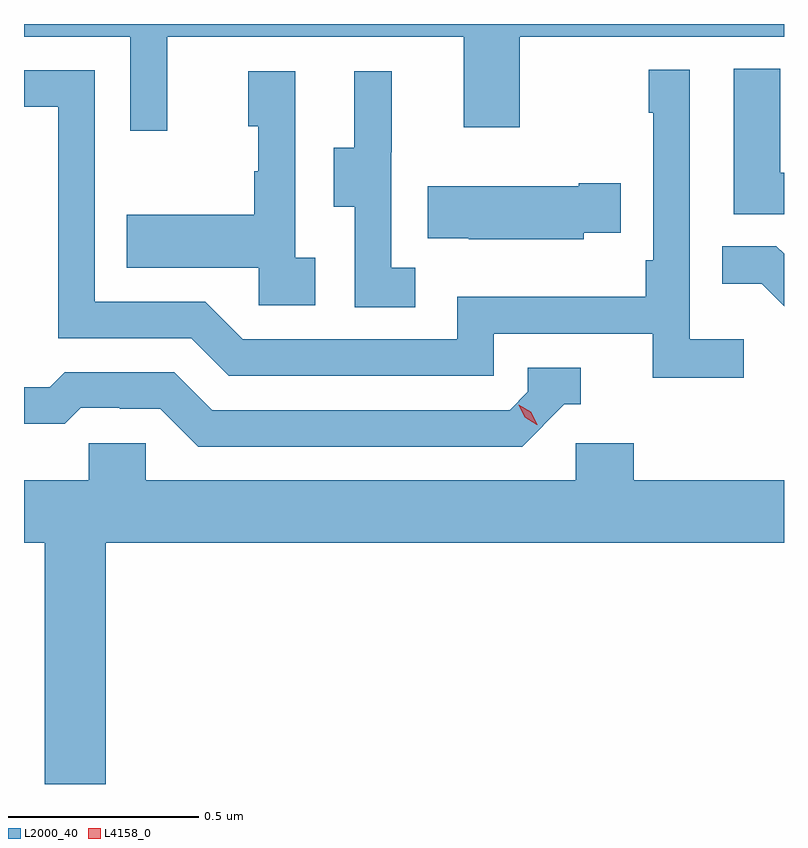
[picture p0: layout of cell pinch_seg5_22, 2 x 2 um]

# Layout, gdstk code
import gdstk
lib = gdstk.Library(unit=1e-6, precision=1e-09)
def P(c, l, *ps):  # polygons
    for p in ps: c.add(gdstk.Polygon(p, *l))
L2000_40 = (2000, 40)
L4158_0 = (4158, 0)

pinch_seg5_22 = lib.new_cell('pinch_seg5_22')
P(pinch_seg5_22, L2000_40, [(1139.561,912.704),(1140.341,912.704),(1140.341,912.465),(1140.489,912.465),(1140.489,912.704),(1141.184,912.704),(1141.184,912.737),(1139.184,912.737),(1139.184,912.704),(1139.463,912.704),(1139.463,912.456),(1139.561,912.456)],
  [(1141.184,912.346),(1141.174,912.346),(1141.174,912.619),(1141.052,912.619),(1141.052,912.237),(1141.184,912.237)],
  [(1141.078,911.908),(1140.936,911.908),(1140.936,912.616),(1140.828,912.616),(1140.828,912.503),(1140.84,912.503),(1140.84,912.115),(1140.82,912.115),(1140.82,912.019),(1140.324,912.019),(1140.324,911.907),(1139.76,911.907),(1139.661,912.006),(1139.37,912.006),(1139.37,912.615),(1139.184,912.615),(1139.184,912.519),(1139.274,912.519),(1139.274,911.91),(1139.624,911.91),(1139.723,911.811),(1140.42,911.811),(1140.42,911.922),(1140.839,911.922),(1140.839,911.806),(1141.078,911.806)],
  [(1139.95,912.122),(1139.898,912.122),(1139.898,912.613),(1139.774,912.613),(1139.774,912.468),(1139.8,912.468),(1139.8,912.35),(1139.79,912.35),(1139.79,912.235),(1139.455,912.235),(1139.455,912.095),(1139.802,912.095),(1139.802,911.997),(1139.95,911.997)],
  [(1140.214,912.095),(1140.15,912.095),(1140.15,912.399),(1140.152,912.399),(1140.152,912.613),(1140.053,912.613),(1140.053,912.411),(1139.999,912.411),(1139.999,912.256),(1140.054,912.256),(1140.054,911.992),(1140.214,911.992)],
  [(1140.657,912.188),(1140.755,912.188),(1140.755,912.318),(1140.644,912.318),(1140.644,912.31),(1140.247,912.31),(1140.247,912.173),(1140.355,912.173),(1140.355,912.17),(1140.657,912.17)],
  [(1141.184,912.132),(1141.164,912.152),(1141.021,912.152),(1141.021,912.053),(1141.125,912.053),(1141.184,911.994)],
  [(1140.606,911.736),(1140.649,911.736),(1140.649,911.832),(1140.51,911.832),(1140.51,911.769),(1140.462,911.721),(1139.679,911.721),(1139.58,911.82),(1139.291,911.82),(1139.252,911.781),(1139.184,911.781),(1139.184,911.685),(1139.291,911.685),(1139.333,911.727),(1139.436,911.727),(1139.436,911.724),(1139.543,911.724),(1139.642,911.625),(1140.495,911.625)],
  [(1139.355,911.536),(1139.184,911.536),(1139.184,911.372),(1139.239,911.372),(1139.239,910.737),(1139.399,910.737),(1139.399,911.372),(1141.184,911.372),(1141.184,911.536),(1140.788,911.536),(1140.788,911.634),(1140.636,911.634),(1140.636,911.536),(1139.505,911.536),(1139.505,911.634),(1139.355,911.634)])
P(pinch_seg5_22, L4158_0, [(1140.533,911.683),(1140.502,911.702),(1140.486,911.735),(1140.486,911.735),(1140.486,911.735),(1140.517,911.716),(1140.534,911.684),(1140.534,911.683)])

lib.write_gds('pinch_seg5_22.gds')
